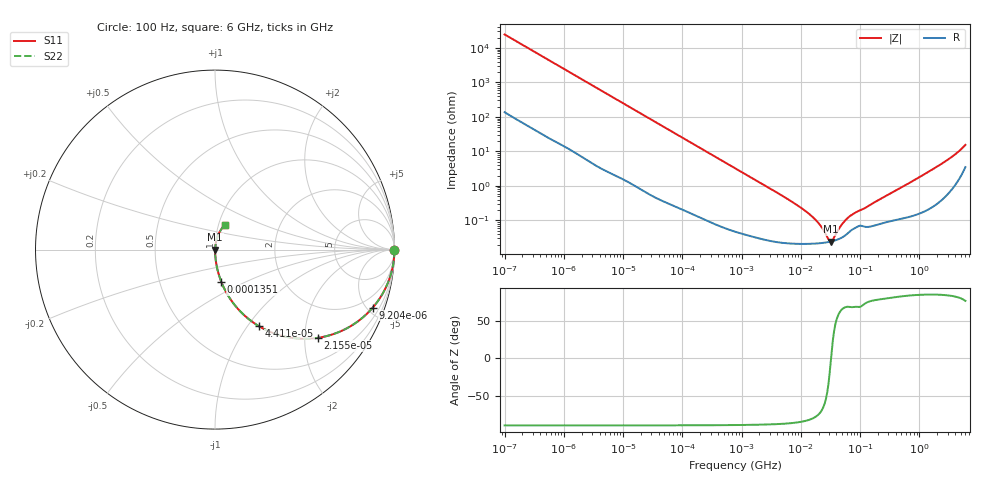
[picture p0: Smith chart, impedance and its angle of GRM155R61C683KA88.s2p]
!Murata Part Number: GRM155R61C683KA88
!These Parameters are Measured in Series Mode Connection
!Data Generated on Mar 30, 2021
!  o--ll--o
!Port1  Port2
!  o------o
!Operation Temp=25[degC], DC Bias Voltage=0[V]
!Freq. Start=100[Hz] Stop=6[GHz] 401[Steps]
# Hz S RI R 50
!Freq.(Hz) S11(Real) S11(Imag) S21(Real) S21(Imag) S12(Real) S12(Imag) S22(Real) S22(Imag)
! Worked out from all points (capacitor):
!   401 points, 100 Hz to 6 GHz, reference 50 ohm
!   read as one part in series: C = 64.7 nF near 109 Hz
!   lowest |Z| = 24.4 mohm at 31.85 MHz (marker M1)
!   series resonance near 32.37 MHz, so ESL is about 370 pH
!   S11 on the Smith chart (normalised r, x): 100 Hz: open; 9.204 kHz: 1.03, -5.43; 21.55 kHz: 1.01, -2.33; 44.11 kHz: 1.01, -1.14; 135.1 kHz: 1.00, -0.37; 6 GHz: 1.07, +0.30
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100  1 -0.00407  3.93e-05 0.00407  3.93e-05 0.00407  1 -0.00407
2008  0.9931 -0.0802  0.00694 0.0802  0.00694 0.0802  0.9931 -0.0802
4918  0.9615 -0.1896  0.0385 0.1896  0.0385 0.1896  0.9615 -0.1896
9204  0.8789 -0.3232  0.1211 0.3232  0.1211 0.3232  0.8789 -0.3232
13772  0.7659 -0.4203  0.2341 0.4203  0.2341 0.4203  0.7659 -0.4203
21550  0.5744 -0.4913  0.4256 0.4913  0.4256 0.4913  0.5744 -0.4913
40335  0.2806 -0.446  0.7194 0.446  0.7194 0.446  0.2806 -0.446
44113  0.2463 -0.4275  0.7537 0.4275  0.7537 0.4275  0.2463 -0.4275
72189  0.1102 -0.3094  0.8898 0.3094  0.8898 0.3094  0.1102 -0.3094
135116  0.0352 -0.18  0.9648 0.18  0.9648 0.18  0.0352 -0.18
774597  0.00155 -0.0328  0.9985 0.0328  0.9985 0.0328  0.00155 -0.0328
6353432  0.000229 -0.0039  0.9998 0.0039  0.9998 0.0039  0.000229 -0.0039
1.555665e7  0.000212 -0.00127  0.9998 0.00127  0.9998 0.00127  0.000212 -0.00127
2.035112e7  0.000217 -0.000766  0.9998 0.000766  0.9998 0.000766  0.000217 -0.000766
2.911731e7  0.000235 -0.000169  0.9998 0.000169  0.9998 0.000169  0.000235 -0.000169
3.184506e7  0.000243 -2.57e-05  0.9998 2.57e-05  0.9998 2.57e-05  0.000243 -2.57e-05
3.482834e7  0.000252 0.000117  0.9997 -0.000117  0.9997 -0.000117  0.000252 0.000117
4.764863e7  0.000308 0.000633  0.9997 -0.000633  0.9997 -0.000633  0.000308 0.000633
6.518806e7  0.000458 0.00118  0.9995 -0.00118  0.9995 -0.00118  0.000458 0.00118
3.124326e8  0.000963 0.00571  0.999 -0.00571  0.999 -0.00571  0.000963 0.00571
2.240541e9  0.00516 0.0405  0.9948 -0.0405  0.9948 -0.0405  0.00516 0.0405
6e9  0.054 0.138  0.946 -0.138  0.946 -0.138  0.054 0.138
